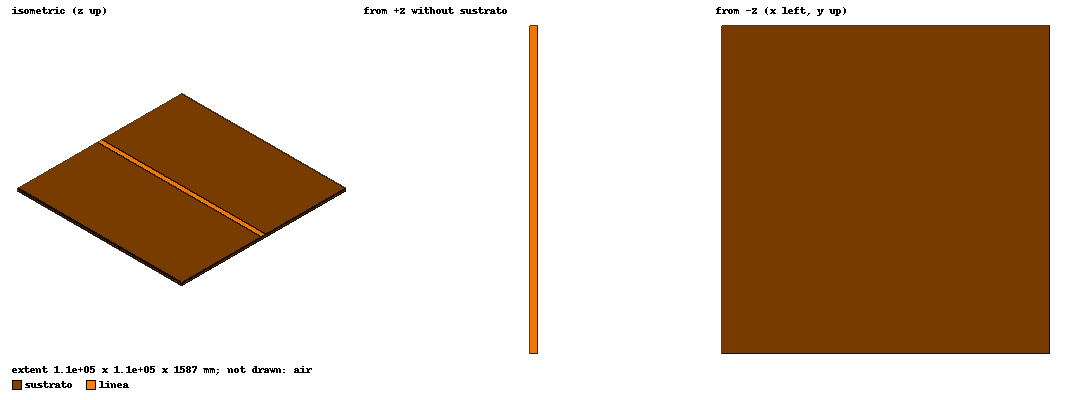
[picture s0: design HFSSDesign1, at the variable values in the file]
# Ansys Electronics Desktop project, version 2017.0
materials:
  vacuum: permittivity=1
  FR4_epoxy: permittivity=4.4 dielectric_loss_tangent=0.02
  copper: permeability=0.999991 conductivity=58000000
  air: permittivity=1.0006 permeability=1.0000004

design HFSSDesign1 (HFSS, DrivenModal, model units mm)
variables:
  array = [1.57, 110, 70, 0.017, 3] m
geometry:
  sustrato [FR4_epoxy] = box(corner=(0mm, 0mm, 0mm), size=(array[1], array[1], array[0]))
  linea [copper] = box(corner=((array[1]/2)-(array[4]/2), 0mm, array[0]), size=(array[4], array[1], array[3]))
  air [air] = box(corner=(0mm, 0mm, -array[2]/2), size=(array[1], array[1], array[2]))
  puerto1 = rectangle(corner=((array[1]/2)-(50mm/2), 0mm, 0mm), z_size=20mm, x_size=50mm)
  puerto2 = rectangle(corner=((array[1]/2)-(50mm/2), array[1], 0mm), z_size=20mm, x_size=50mm)
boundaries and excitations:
  PerfE1: Perfect E Faces=sustrato.face(-z)
  Rad1: Radiation Objects=air
  1: Wave Port Objects=puerto1 NumModes=1 Modes{Mode1{IntLine{middle of puerto1.edge(z at corner) -> middle of linea.edge(4 of 12)} CharImp=Zpi RenormImp=50ohm}}
  2: Wave Port Objects=puerto2 NumModes=1 Modes{Mode1{IntLine{middle of puerto2.edge(z at corner) -> middle of linea.edge(2 of 12)} CharImp=Zpi RenormImp=50ohm}}
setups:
  Setup1: HfssDriven Frequency=5GHz MaxDeltaS=0.02 MaximumPasses=15 MinimumPasses=1 MinimumConvergedPasses=2 PercentRefinement=30 BasisOrder=1 PortAccuracy=2 RayDensityPerWavelength=4 MaxNumberOfBounces=5
    sweep Sweep: 1500MHz to 3500MHz, 801 points; Type=Fast SaveFields
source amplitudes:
  1:1: 1W 0deg
  2:1: 0W 0deg
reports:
  XY Plot 4: dB(S(1,1)), dB(S(1,2)), dB(S(2,1)), dB(S(2,2)) vs Freq on Setup1 : Sweep
  XY Plot 5: re(Z(1,1)), im(Z(1,1)), re(Z(1,2)), im(Z(1,2)), re(Z(2,1)), im(Z(2,1)), re(Z(2,2)), im(Z(2,2)) vs Freq on Setup1 : Sweep
  XY Plot 6: VSWR(1), VSWR(2) vs Freq on Setup1 : Sweep
